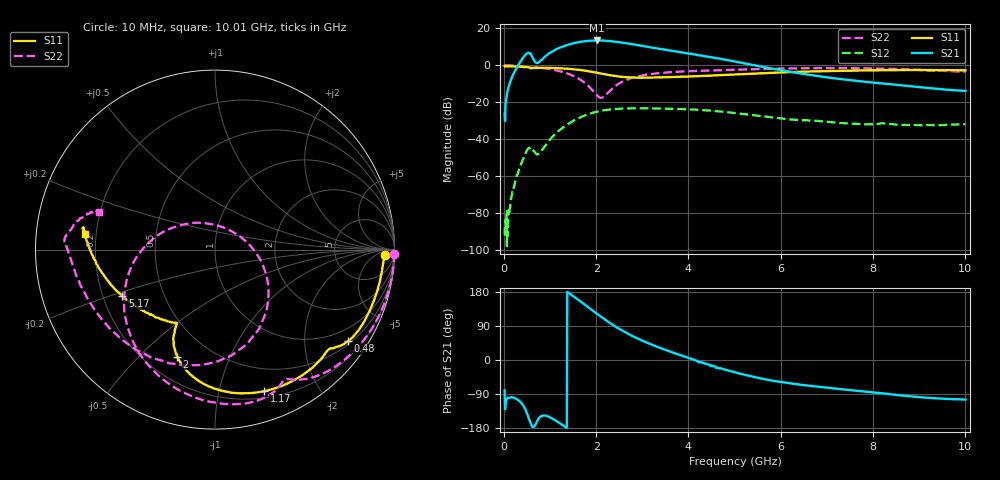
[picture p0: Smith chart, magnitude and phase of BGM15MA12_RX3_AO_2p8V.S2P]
!Agilent Technologies,E5071C,MY46317100,A.11.08
!Date: Fri Dec 19 16:31:00 2014
!Data & Calibration Information:
!Freq	S11:SOLT2(ON)	S21:SOLT2(ON)	S12:SOLT2(ON)	S22:SOLT2(ON)
!PortZ  Port1:50+j0  Port2:50+j0
!Above PortZ is port z conversion or system Z0 setting when saving the data.
!When reading, reference impedance value at option line is always used.
# Hz S RI R 50
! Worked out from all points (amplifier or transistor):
!   1001 points, 10 MHz to 10.01 GHz, reference 50 ohm
!   highest |S21| = 13.4 dB at 2.02 GHz (marker M1)
!   |S21| within 3 dB of that: 1.302 GHz to 3.006 GHz (1.704 GHz wide, 79.1 % of centre)
!   unconditionally stable (mu >= 1): start of sweep to end of sweep
!   at 1.67 GHz: K = 1.48, MAG = 16.3 dB, |S12| = -28.0 dB
!   at 5.01 GHz: K = 2.51, MAG = 7.1 dB, |S12| = -25.8 dB
!   at 10.01 GHz: K = 24.62, MAG = -8.0 dB, |S12| = -31.8 dB
!   lowest NFmin = 0.98 dB at 1.45 GHz
!   S11 on the Smith chart (normalised r, x): 10 MHz: 29, -17; 480 MHz: 0.58, -3.12; 1.17 GHz: 0.26, -1.37; 2 GHz: 0.33, -0.66; 5.17 GHz: 0.28, -0.22; 10.01 GHz: 0.16, +0.06
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1e7  0.9491 -0.0292  0.00833 -0.0479  1.14e-06 2.47e-05  0.9994 -0.0227
3.1e8  0.8597 -0.3455  -0.2878 -0.9813  -0.00133 0.000114  0.7374 -0.6001
4.8e8  0.7421 -0.5098  -1.458 -1.427  -0.00404 0.00213  0.4506 -0.725
5.6e8  0.6676 -0.5467  -1.96 -0.6626  -0.00342 0.00458  0.3796 -0.7342
6.4e8  0.6255 -0.5638  -1.424 -0.0895  -0.00149 0.00459  0.3095 -0.8058
8.1e8  0.5424 -0.6586  -1.191 -0.7456  -0.00382 0.00298  0.0105 -0.8542
9.9e8  0.4138 -0.7407  -1.893 -1.047  -0.00823 0.00492  -0.2541 -0.7496
1.17e9  0.2738 -0.7885  -2.756 -0.8026  -0.0128 0.00997  -0.4286 -0.5662
1.45e9  0.0592 -0.7915  -3.76 0.4676  -0.0162 0.0238  -0.5023 -0.2243
1.68e9  -0.0903 -0.7316  -3.874 2.03  -0.0123 0.0383  -0.3878 0.0199
2e9  -0.2106 -0.5967  -2.576 3.929  0.00583 0.0545  -0.062 0.148
2.02e9  -0.214 -0.5887  -2.455 4.011  0.00737 0.055  -0.0407 0.1452
2.3e9  -0.2311 -0.486  -0.5711 4.473  0.0292 0.0566  0.2066 0.00993
2.67e9  -0.215 -0.4225  1.316 3.696  0.0515 0.0445  0.2954 -0.2849
2.96e9  -0.214 -0.4088  2.055 2.719  0.0608 0.0312  0.2254 -0.4675
3.35e9  -0.241 -0.4055  2.352 1.549  0.0659 0.0144  0.0472 -0.6088
4.2e9  -0.3554 -0.3639  1.893 -0.1046  0.0603 -0.0169  -0.4077 -0.5738
5.01e9  -0.4889 -0.2819  1.063 -0.6819  0.0408 -0.0308  -0.7002 -0.2883
5.17e9  -0.5154 -0.2599  0.9162 -0.7065  0.037 -0.0314  -0.7317 -0.2308
6.68e9  -0.6785 -0.0396  0.1936 -0.501  0.0193 -0.0255  -0.8341 0.0343
8.35e9  -0.728 0.1058  2.25e-05 -0.31  0.0155 -0.0209  -0.7928 0.1253
1.001e10  -0.7216 0.0892  -0.05 -0.1967  0.0187 -0.0177  -0.6447 0.2109
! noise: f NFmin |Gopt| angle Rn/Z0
1.45e+09  0.9845  0.4421  69.22  0.2096
1.5e+09  1.004  0.4239  71.62  0.2049
1.7e+09  1.014  0.4082  80.11  0.2021
1.85e+09  1.027  0.4238  85.08  0.1724
1.9e+09  1.028  0.4189  88.79  0.1853
2.1e+09  1.067  0.4286  94.47  0.1797
2.3e+09  1.105  0.4442  98.14  0.1775
2.4e+09  1.112  0.4553  100.1  0.1549
2.6e+09  1.157  0.4423  103.4  0.1707
2.75e+09  1.204  0.449  110.3  0.1623
